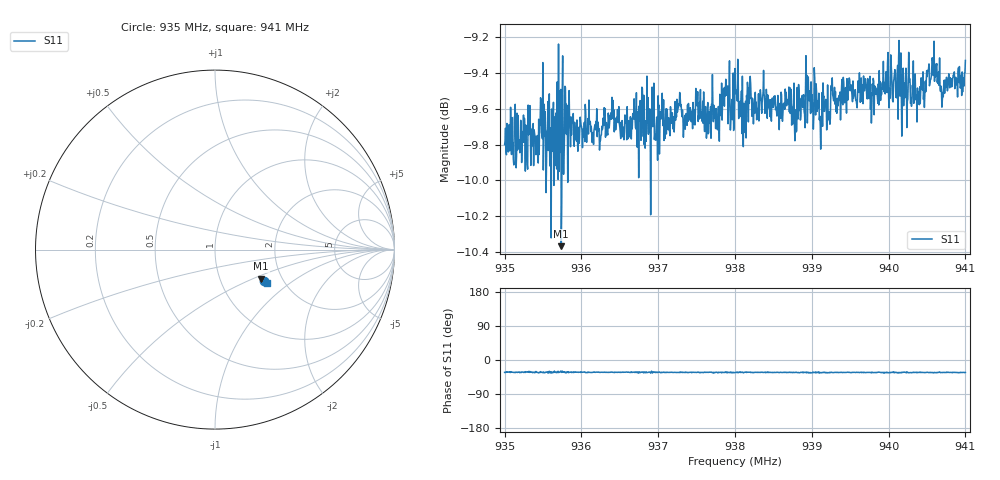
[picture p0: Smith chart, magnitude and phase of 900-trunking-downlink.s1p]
! Calibrated averaged scanner-service zoom
# Hz S RI R 50
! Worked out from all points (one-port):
!   1001 points, 935 MHz to 941 MHz, reference 50 ohm
!   lowest |S11| = -10.4 dB at 935.738 MHz (marker M1), VSWR 1.87, Z = 78.4 - j27.9 ohm
!   |S11| at or under -10 dB: 935.5386 MHz to 935.5421 MHz (3.473 kHz wide, 0.000371 % of centre); 935.6029 MHz to 935.6087 MHz (5.805 kHz wide, 0.00062 % of centre); 935.7355 MHz to 935.7453 MHz (9.793 kHz wide, 0.00105 % of centre)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
9.35e8  0.2724 -0.1746
9.35228e8  0.2761 -0.1695
9.35306e8  0.2805 -0.1774
9.35408e8  0.2775 -0.1623
9.35504e8  0.2663 -0.1745
9.35636e8  0.2785 -0.1815
9.35684e8  0.2811 -0.1856
9.35738e8  0.2566 -0.1616
9.3575e8  0.2913 -0.1631
9.3581e8  0.2785 -0.1688
9.3593e8  0.2758 -0.1756
9.365e8  0.277 -0.1742
9.3725e8  0.2775 -0.1793
9.37658e8  0.2754 -0.1748
9.37874e8  0.2851 -0.1736
9.37964e8  0.2755 -0.1794
9.38e8  0.2856 -0.184
9.3812e8  0.2748 -0.1757
9.3818e8  0.2835 -0.1794
9.3875e8  0.2744 -0.1793
9.38948e8  0.2789 -0.1827
9.39212e8  0.2748 -0.1824
9.395e8  0.2806 -0.1829
9.4025e8  0.2785 -0.1829
9.40382e8  0.2785 -0.181
9.40592e8  0.2914 -0.1861
9.407e8  0.2791 -0.1818
9.41e8  0.2869 -0.1851
